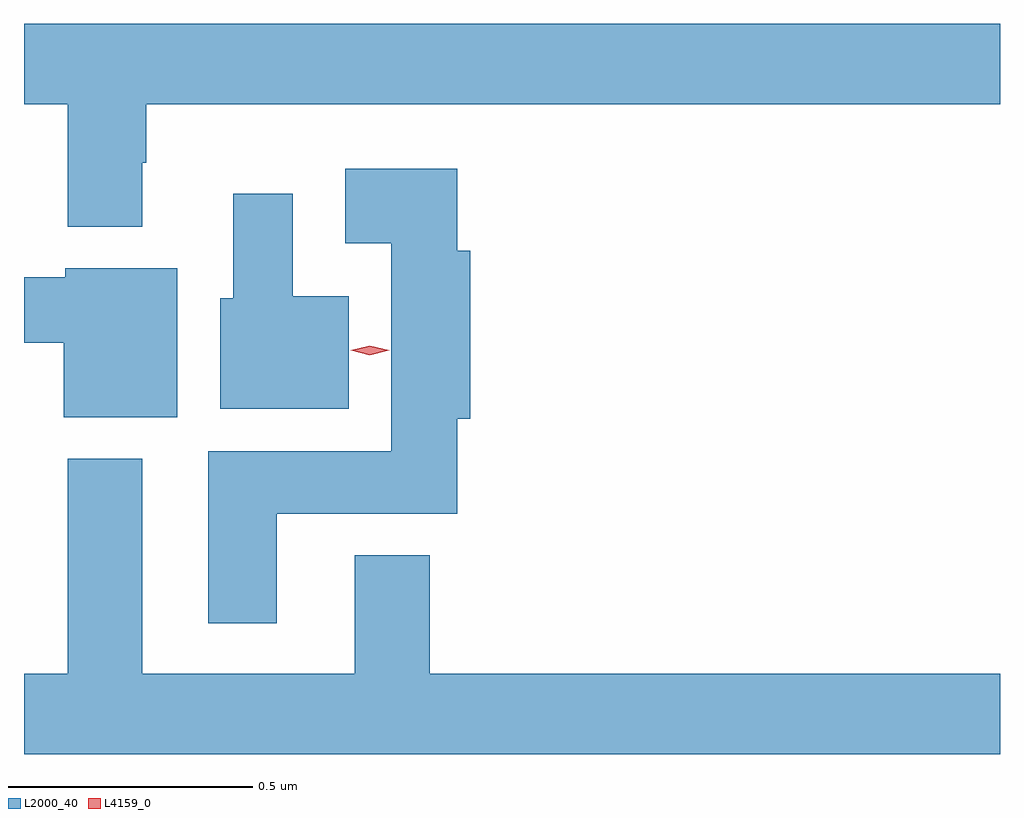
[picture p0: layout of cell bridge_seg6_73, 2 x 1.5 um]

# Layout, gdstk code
import gdstk
lib = gdstk.Library(unit=1e-6, precision=1e-09)
def P(c, l, *ps):  # polygons
    for p in ps: c.add(gdstk.Polygon(p, *l))
L2000_40 = (2000, 40)
L4159_0 = (4159, 0)

bridge_seg6_73 = lib.new_cell('bridge_seg6_73')
P(bridge_seg6_73, L2000_40, [(771.133,928.568),(771.141,928.568),(771.141,928.688),(772.891,928.688),(772.891,928.852),(770.891,928.852),(770.891,928.688),(770.981,928.688),(770.981,928.436),(771.133,928.436)],
  [(771.409,927.848),(771.779,927.848),(771.779,928.043),(771.805,928.043),(771.805,928.387),(771.779,928.387),(771.779,928.555),(771.549,928.555),(771.549,928.403),(771.644,928.403),(771.644,927.976),(771.269,927.976),(771.269,927.624),(771.409,927.624)],
  [(771.556,928.294),(771.442,928.294),(771.442,928.504),(771.32,928.504),(771.32,928.29),(771.293,928.29),(771.293,928.064),(771.556,928.064)],
  [(771.205,928.351),(770.976,928.351),(770.976,928.333),(770.891,928.333),(770.891,928.199),(770.972,928.199),(770.972,928.046),(771.205,928.046)],
  [(772.891,927.52),(771.722,927.52),(771.722,927.763),(771.569,927.763),(771.569,927.52),(771.133,927.52),(771.133,927.961),(770.981,927.961),(770.981,927.52),(770.891,927.52),(770.891,927.356),(772.891,927.356)])
P(bridge_seg6_73, L4159_0, [(771.6,928.173),(771.561,928.183),(771.56,928.183),(771.561,928.183),(771.6,928.193),(771.639,928.183),(771.639,928.183),(771.639,928.183)])

lib.write_gds('bridge_seg6_73.gds')
